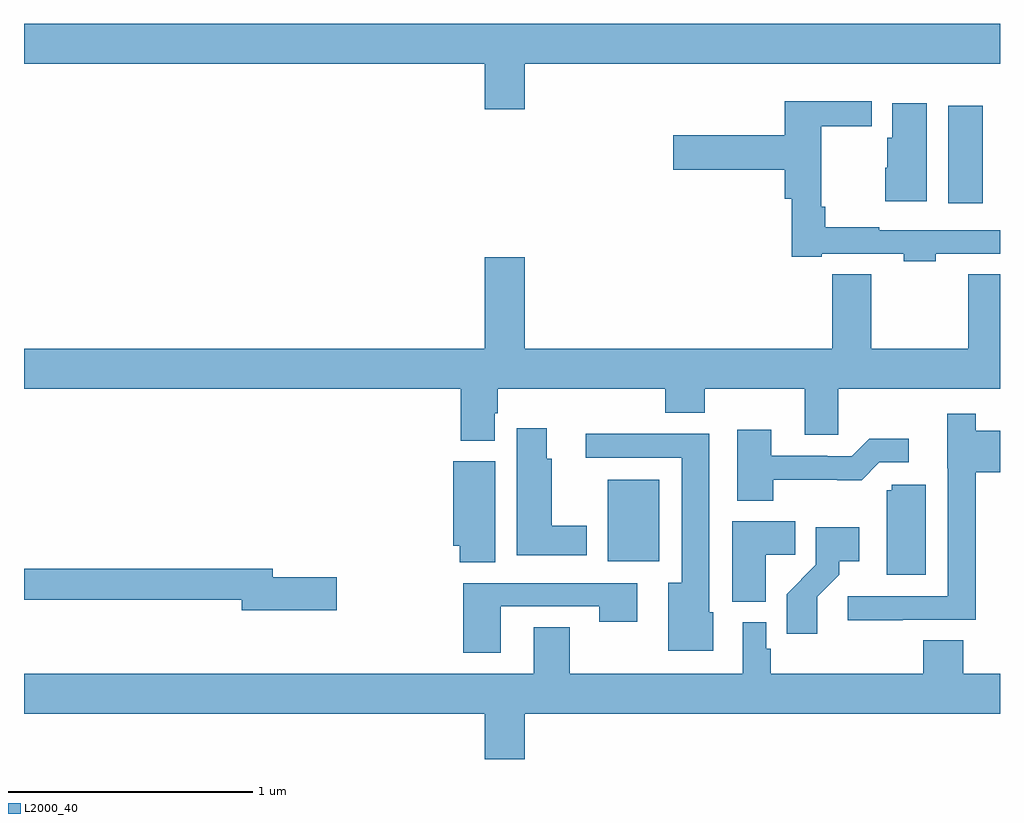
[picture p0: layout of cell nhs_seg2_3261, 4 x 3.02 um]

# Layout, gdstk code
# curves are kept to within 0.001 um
import gdstk
lib = gdstk.Library(unit=1e-6, precision=1e-09)
def R(c, l, rs):  # rectangles x0, y0, x1, y1
    for r in rs: c.add(gdstk.rectangle(r[:2], r[2:], *l))
def P(c, l, *ps):  # polygons
    for p in ps: c.add(gdstk.Polygon(p, *l))
L2000_40 = (2000, 40)

nhs_seg2_3261 = lib.new_cell('nhs_seg2_3261')
R(nhs_seg2_3261, L2000_40, [(285.392,606.968,285.604,607.303), (286.787,608.436,286.93,608.836)])
P(nhs_seg2_3261, L2000_40, [(285.052,609.008),(287,609.008),(287,609.172),(283,609.172),(283,609.008),(284.888,609.008),(284.888,608.82),(285.052,608.82)],
  [(286.737,608.229),(287,608.229),(287,608.325),(286.505,608.325),(286.505,608.338),(286.283,608.338),(286.283,608.422),(286.268,608.422),(286.268,608.752),(286.474,608.752),(286.474,608.854),(286.118,608.854),(286.118,608.715),(285.66,608.715),(285.66,608.573),(286.118,608.573),(286.118,608.453),(286.147,608.453),(286.147,608.217),(286.27,608.217),(286.27,608.229),(286.605,608.229),(286.605,608.197),(286.737,608.197)],
  [(286.699,608.845),(286.559,608.845),(286.559,608.703),(286.538,608.703),(286.538,608.58),(286.529,608.58),(286.529,608.444),(286.699,608.444)],
  [(284.929,607.575),(284.942,607.575),(284.942,607.676),(285.629,607.676),(285.629,607.577),(285.789,607.577),(285.789,607.676),(286.199,607.676),(286.199,607.486),(286.338,607.486),(286.338,607.676),(287,607.676),(287,608.144),(286.87,608.144),(286.87,607.84),(286.472,607.84),(286.472,608.144),(286.313,608.144),(286.313,607.84),(285.052,607.84),(285.052,608.215),(284.888,608.215),(284.888,607.84),(283,607.84),(283,607.676),(284.789,607.676),(284.789,607.463),(284.929,607.463)],
  [(286.601,606.729),(286.901,606.729),(286.901,607.334),(287,607.334),(287,607.504),(286.901,607.504),(286.901,607.573),(286.784,607.573),(286.784,607.35),(286.785,607.35),(286.785,606.825),(286.377,606.825),(286.377,606.727),(286.601,606.727)],
  [(285.307,607.114),(285.163,607.114),(285.163,607.389),(285.142,607.389),(285.142,607.513),(285.02,607.513),(285.02,606.992),(285.307,606.992)],
  [(286.071,607.302),(286.433,607.301),(286.506,607.374),(286.627,607.374),(286.627,607.471),(286.465,607.471),(286.392,607.398),(286.292,607.398),(286.292,607.401),(286.063,607.401),(286.063,607.507),(285.923,607.507),(285.923,607.217),(286.071,607.217)],
  [(285.825,606.759),(285.808,606.759),(285.808,607.49),(285.303,607.49),(285.303,607.392),(285.695,607.392),(285.695,606.88),(285.641,606.88),(285.641,606.602),(285.825,606.602)],
  [(284.932,607.378),(284.759,607.378),(284.759,607.031),(284.786,607.031),(284.786,606.964),(284.932,606.964)],
  [(286.696,607.281),(286.557,607.281),(286.557,607.26),(286.535,607.26),(286.535,606.912),(286.696,606.912)],
  [(286.039,606.994),(286.16,606.994),(286.16,607.132),(285.902,607.132),(285.902,606.803),(286.039,606.803)],
  [(286.252,606.823),(286.342,606.913),(286.342,606.968),(286.423,606.968),(286.423,607.108),(286.245,607.108),(286.245,606.953),(286.126,606.834),(286.126,606.672),(286.252,606.672)],
  [(284.281,606.902),(284.02,606.902),(284.02,606.938),(283,606.938),(283,606.81),(283.892,606.81),(283.892,606.767),(284.281,606.767)],
  [(284.953,606.783),(285.358,606.783),(285.358,606.72),(285.514,606.72),(285.514,606.879),(284.801,606.879),(284.801,606.594),(284.953,606.594)],
  [(285.052,606.344),(287,606.344),(287,606.508),(286.85,606.508),(286.85,606.644),(286.685,606.644),(286.685,606.508),(286.061,606.508),(286.061,606.609),(286.041,606.609),(286.041,606.718),(285.945,606.718),(285.945,606.508),(285.237,606.508),(285.237,606.698),(285.089,606.698),(285.089,606.508),(283,606.508),(283,606.344),(284.888,606.344),(284.888,606.156),(285.052,606.156)])

lib.write_gds('nhs_seg2_3261.gds')
